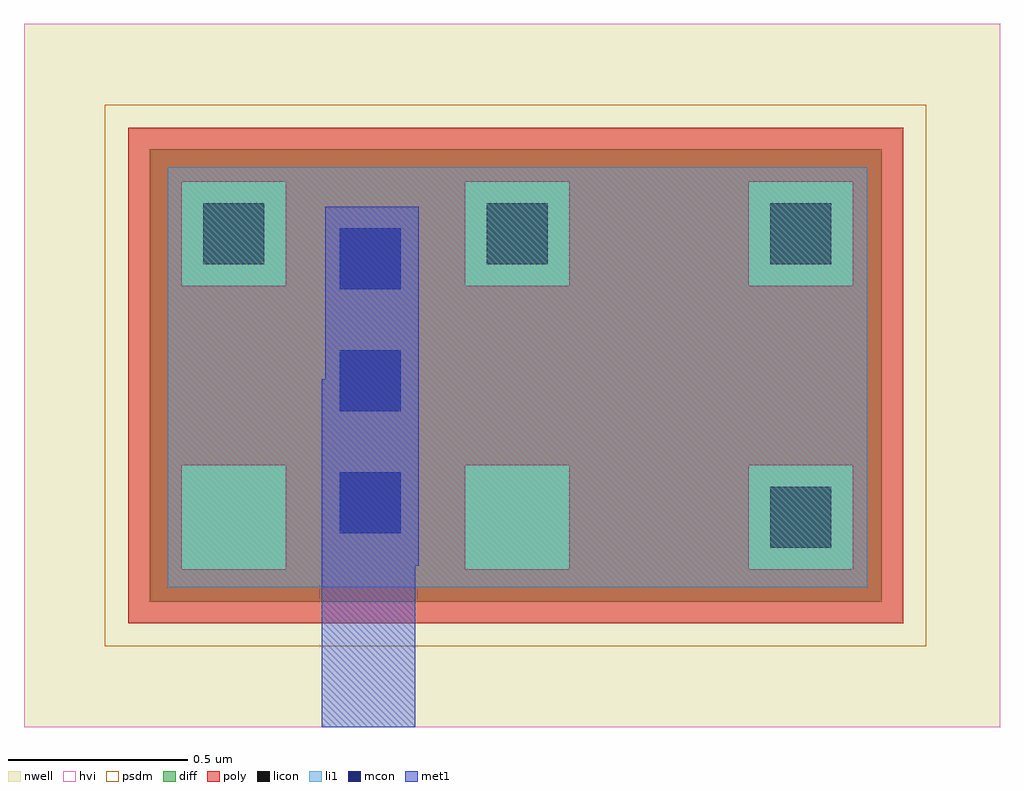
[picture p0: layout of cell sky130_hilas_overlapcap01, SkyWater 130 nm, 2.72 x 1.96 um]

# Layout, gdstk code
import gdstk
lib = gdstk.Library(unit=1e-6, precision=1e-09)
def R(c, l, rs):  # rectangles x0, y0, x1, y1
    for r in rs: c.add(gdstk.rectangle(r[:2], r[2:], *l))
def A(c, l, x, y, w, h, nx, ny, dx, dy):  # array of equal rectangles
    R(c, l, [(x+i*dx, y+j*dy, x+i*dx+w, y+j*dy+h) for i in range(nx) for j in range(ny)])
nwell = (64, 20)
diff = (65, 20)
poly = (66, 20)
licon = (66, 44)
li1 = (67, 20)
mcon = (67, 44)
met1 = (68, 20)
hvi = (75, 20)
psdm = (94, 20)

sky130_hilas_overlapcap0 = lib.new_cell('sky130_hilas_overlapcap01')
R(sky130_hilas_overlapcap0, nwell, [(-2.81,-0.65,-0.09,1.31)])
R(sky130_hilas_overlapcap0, diff, [(-2.46,-0.3,-0.42,0.96)])
R(sky130_hilas_overlapcap0, poly, [(-2.52,-0.36,-0.36,-0.21), (-2.52,-0.21,-2.37,0.08), (-2.08,-0.21,-1.58,0.08), (-1.29,-0.21,-0.79,0.08), (-0.5,-0.21,-0.36,0.08), (-2.52,0.08,-0.36,0.58), (-2.52,0.58,-2.37,0.87), (-2.08,0.58,-1.58,0.87), (-1.29,0.58,-0.79,0.87), (-0.5,0.58,-0.36,0.87), (-2.52,0.87,-0.36,1.02)])
A(sky130_hilas_overlapcap0, licon, -2.31, 0.64, 0.17, 0.17, 3, 1, 0.79, 0)
R(sky130_hilas_overlapcap0, licon, [(-0.73,-0.15,-0.56,0.02)])
R(sky130_hilas_overlapcap0, li1, [(-2.41,-0.26,-0.46,0.91)])
A(sky130_hilas_overlapcap0, mcon, -1.93, -0.11, 0.17, 0.17, 1, 3, 0, 0.34)
R(sky130_hilas_overlapcap0, met1, [(-1.98,-0.65,-1.72,-0.2), (-1.98,-0.2,-1.71,0.32), (-1.97,0.32,-1.71,0.8)])
R(sky130_hilas_overlapcap0, hvi, [(-2.81,-0.65,-0.09,1.31)])
R(sky130_hilas_overlapcap0, psdm, [(-2.585,-0.425,-0.295,1.085)])

lib.write_gds('sky130_hilas_overlapcap01.gds')
